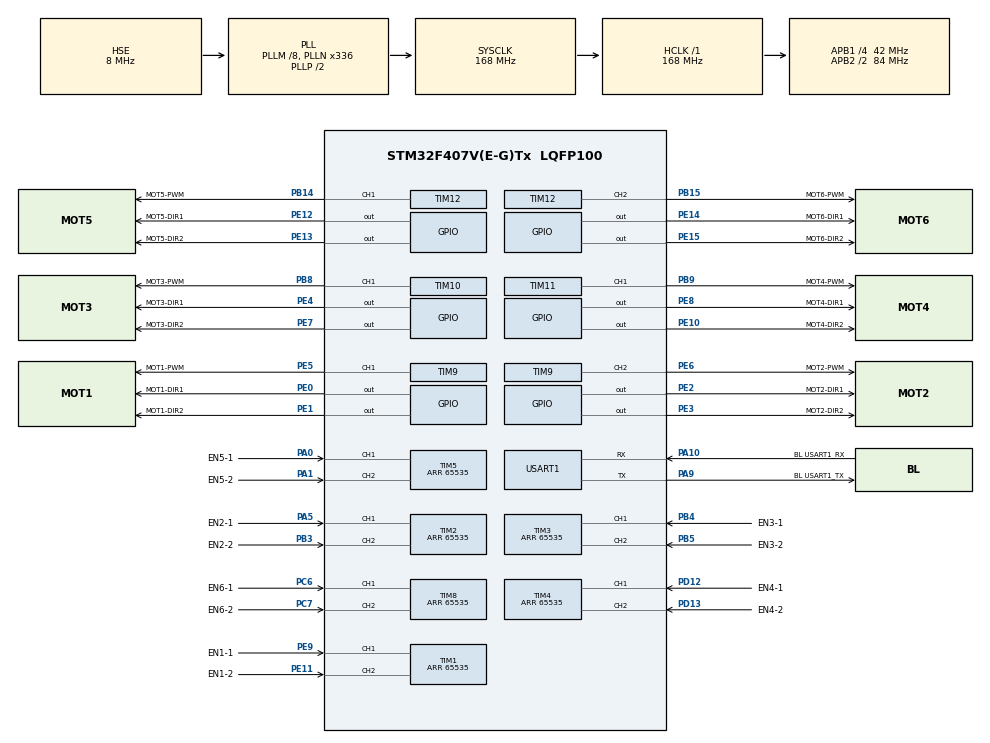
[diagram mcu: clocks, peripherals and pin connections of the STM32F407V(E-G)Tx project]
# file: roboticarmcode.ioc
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Mcu.Family=STM32F4
Mcu.Name=STM32F407V(E-G)Tx
Mcu.Package=LQFP100
NVIC.PriorityGroup=NVIC_PRIORITYGROUP_4
NVIC.TIM6_DAC_IRQn=true\:0\:0\:false
PA0-WKUP.GPIO_Label=EN5-1
PA0-WKUP.GPIO_ModeDefaultPP=GPIO_MODE_AF_PP
PA0-WKUP.GPIO_PuPd=GPIO_NOPULL
PA0-WKUP.GPIO_Speed=GPIO_SPEED_HIGH
PA0-WKUP.Signal=S_TIM5_CH1
PA1.GPIO_Label=EN5-2
PA1.GPIO_ModeDefaultPP=GPIO_MODE_AF_PP
PA1.GPIO_PuPd=GPIO_NOPULL
PA1.GPIO_Speed=GPIO_SPEED_HIGH
PA1.Signal=S_TIM5_CH2
PA10.GPIO_Label=BL USART1_RX
PA10.GPIO_Mode=GPIO_MODE_AF_PP
PA10.GPIO_PuPd=GPIO_PULLUP
PA10.GPIO_Speed=GPIO_SPEED_LOW
PA10.Mode=Asynchronous
PA10.Signal=USART1_RX
PA13.Mode=Serial-Wire
PA13.Signal=SYS_JTMS-SWDIO
PA14.Mode=Serial-Wire
PA14.Signal=SYS_JTCK-SWCLK
PA5.GPIO_Label=EN2-1
PA5.GPIO_ModeDefaultPP=GPIO_MODE_AF_PP
PA5.GPIO_PuPd=GPIO_NOPULL
PA5.GPIO_Speed=GPIO_SPEED_HIGH
PA5.Signal=S_TIM2_CH1_ETR
PA9.GPIO_Label=BL USART1_TX
PA9.GPIO_Mode=GPIO_MODE_AF_PP
PA9.GPIO_PuPd=GPIO_PULLUP
PA9.GPIO_Speed=GPIO_SPEED_LOW
PA9.Mode=Asynchronous
PA9.Signal=USART1_TX
PB14.GPIO_Label=MOT5-PWM
PB14.GPIO_ModeDefaultPP=GPIO_MODE_AF_PP
PB14.GPIO_PuPd=GPIO_NOPULL
PB14.GPIO_Speed=GPIO_SPEED_HIGH
PB14.Signal=S_TIM12_CH1
PB15.GPIO_Label=MOT6-PWM
PB15.GPIO_ModeDefaultPP=GPIO_MODE_AF_PP
PB15.GPIO_PuPd=GPIO_NOPULL
PB15.GPIO_Speed=GPIO_SPEED_HIGH
PB15.Signal=S_TIM12_CH2
PB3.GPIO_Label=EN2-2
PB3.GPIO_ModeDefaultPP=GPIO_MODE_AF_PP
PB3.GPIO_PuPd=GPIO_NOPULL
PB3.GPIO_Speed=GPIO_SPEED_HIGH
PB3.Signal=S_TIM2_CH2
PB4.GPIO_Label=EN3-1
PB4.GPIO_ModeDefaultPP=GPIO_MODE_AF_PP
PB4.GPIO_PuPd=GPIO_NOPULL
PB4.GPIO_Speed=GPIO_SPEED_HIGH
PB4.Signal=S_TIM3_CH1
PB5.GPIO_Label=EN3-2
PB5.GPIO_ModeDefaultPP=GPIO_MODE_AF_PP
PB5.GPIO_PuPd=GPIO_NOPULL
PB5.GPIO_Speed=GPIO_SPEED_HIGH
PB5.Signal=S_TIM3_CH2
PB8.GPIO_Label=MOT3-PWM
PB8.GPIO_ModeDefaultPP=GPIO_MODE_AF_PP
PB8.GPIO_PuPd=GPIO_NOPULL
PB8.GPIO_Speed=GPIO_SPEED_HIGH
PB8.Signal=S_TIM10_CH1
PB9.GPIO_Label=MOT4-PWM
PB9.GPIO_ModeDefaultPP=GPIO_MODE_AF_PP
PB9.GPIO_PuPd=GPIO_NOPULL
PB9.GPIO_Speed=GPIO_SPEED_HIGH
PB9.Signal=S_TIM11_CH1
PC6.GPIO_Label=EN6-1
PC6.GPIO_ModeDefaultPP=GPIO_MODE_AF_PP
PC6.GPIO_PuPd=GPIO_NOPULL
PC6.GPIO_Speed=GPIO_SPEED_HIGH
PC6.Signal=S_TIM8_CH1
PC7.GPIO_Label=EN6-2
PC7.GPIO_ModeDefaultPP=GPIO_MODE_AF_PP
PC7.GPIO_PuPd=GPIO_NOPULL
PC7.GPIO_Speed=GPIO_SPEED_HIGH
PC7.Signal=S_TIM8_CH2
PD12.GPIO_Label=EN4-1
PD12.GPIO_ModeDefaultPP=GPIO_MODE_AF_PP
PD12.GPIO_PuPd=GPIO_NOPULL
PD12.GPIO_Speed=GPIO_SPEED_HIGH
PD12.Signal=S_TIM4_CH1
PD13.GPIO_Label=EN4-2
PD13.GPIO_ModeDefaultPP=GPIO_MODE_AF_PP
PD13.GPIO_PuPd=GPIO_NOPULL
PD13.GPIO_Speed=GPIO_SPEED_HIGH
PD13.Signal=S_TIM4_CH2
PE0.GPIO_Label=MOT1-DIR1
PE0.GPIO_ModeDefaultOutputPP=GPIO_MODE_OUTPUT_PP
PE0.GPIO_PuPd=GPIO_NOPULL
PE0.GPIO_Speed=GPIO_SPEED_LOW
PE0.Signal=GPIO_Output
PE1.GPIO_Label=MOT1-DIR2
PE1.GPIO_ModeDefaultOutputPP=GPIO_MODE_OUTPUT_PP
PE1.GPIO_PuPd=GPIO_NOPULL
PE1.GPIO_Speed=GPIO_SPEED_LOW
PE1.Signal=GPIO_Output
PE10.GPIO_Label=MOT4-DIR2
PE10.GPIO_ModeDefaultOutputPP=GPIO_MODE_OUTPUT_PP
PE10.GPIO_PuPd=GPIO_NOPULL
PE10.GPIO_Speed=GPIO_SPEED_LOW
PE10.Signal=GPIO_Output
PE11.GPIO_Label=EN1-2
PE11.GPIO_ModeDefaultPP=GPIO_MODE_AF_PP
PE11.GPIO_PuPd=GPIO_PULLUP
PE11.GPIO_Speed=GPIO_SPEED_HIGH
PE11.Signal=S_TIM1_CH2
PE12.GPIO_Label=MOT5-DIR1
PE12.GPIO_ModeDefaultOutputPP=GPIO_MODE_OUTPUT_PP
PE12.GPIO_PuPd=GPIO_NOPULL
PE12.GPIO_Speed=GPIO_SPEED_LOW
PE12.Signal=GPIO_Output
PE13.GPIO_Label=MOT5-DIR2
PE13.GPIO_ModeDefaultOutputPP=GPIO_MODE_OUTPUT_PP
PE13.GPIO_PuPd=GPIO_NOPULL
PE13.GPIO_Speed=GPIO_SPEED_LOW
PE13.Signal=GPIO_Output
PE14.GPIO_Label=MOT6-DIR1
PE14.GPIO_ModeDefaultOutputPP=GPIO_MODE_OUTPUT_PP
PE14.GPIO_PuPd=GPIO_NOPULL
PE14.GPIO_Speed=GPIO_SPEED_LOW
PE14.Signal=GPIO_Output
PE15.GPIO_Label=MOT6-DIR2
PE15.GPIO_ModeDefaultOutputPP=GPIO_MODE_OUTPUT_PP
PE15.GPIO_PuPd=GPIO_NOPULL
PE15.GPIO_Speed=GPIO_SPEED_LOW
PE15.Signal=GPIO_Output
PE2.GPIO_Label=MOT2-DIR1
PE2.GPIO_ModeDefaultOutputPP=GPIO_MODE_OUTPUT_PP
PE2.GPIO_PuPd=GPIO_NOPULL
PE2.GPIO_Speed=GPIO_SPEED_LOW
PE2.Signal=GPIO_Output
PE3.GPIO_Label=MOT2-DIR2
PE3.GPIO_ModeDefaultOutputPP=GPIO_MODE_OUTPUT_PP
PE3.GPIO_PuPd=GPIO_NOPULL
PE3.GPIO_Speed=GPIO_SPEED_LOW
PE3.Signal=GPIO_Output
PE4.GPIO_Label=MOT3-DIR1
PE4.GPIO_ModeDefaultOutputPP=GPIO_MODE_OUTPUT_PP
PE4.GPIO_PuPd=GPIO_NOPULL
PE4.GPIO_Speed=GPIO_SPEED_LOW
PE4.Signal=GPIO_Output
PE5.GPIO_Label=MOT1-PWM
PE5.GPIO_ModeDefaultPP=GPIO_MODE_AF_PP
PE5.GPIO_PuPd=GPIO_NOPULL
PE5.GPIO_Speed=GPIO_SPEED_HIGH
PE5.Signal=S_TIM9_CH1
PE6.GPIO_Label=MOT2-PWM
PE6.GPIO_ModeDefaultPP=GPIO_MODE_AF_PP
PE6.GPIO_PuPd=GPIO_NOPULL
PE6.GPIO_Speed=GPIO_SPEED_HIGH
PE6.Signal=S_TIM9_CH2
PE7.GPIO_Label=MOT3-DIR2
PE7.GPIO_ModeDefaultOutputPP=GPIO_MODE_OUTPUT_PP
PE7.GPIO_PuPd=GPIO_NOPULL
PE7.GPIO_Speed=GPIO_SPEED_LOW
PE7.Signal=GPIO_Output
PE8.GPIO_Label=MOT4-DIR1
PE8.GPIO_ModeDefaultOutputPP=GPIO_MODE_OUTPUT_PP
PE8.GPIO_PuPd=GPIO_NOPULL
PE8.GPIO_Speed=GPIO_SPEED_LOW
PE8.Signal=GPIO_Output
PE9.GPIO_Label=EN1-1
PE9.GPIO_ModeDefaultPP=GPIO_MODE_AF_PP
PE9.GPIO_PuPd=GPIO_PULLUP
PE9.GPIO_Speed=GPIO_SPEED_HIGH
PE9.Signal=S_TIM1_CH1
PH0-OSC_IN.Mode=HSE-External-Oscillator
PH0-OSC_IN.Signal=RCC_OSC_IN
PH1-OSC_OUT.Mode=HSE-External-Oscillator
PH1-OSC_OUT.Signal=RCC_OSC_OUT
ProjectManager.TargetToolchain=MDK-ARM V5
RCC.48MHZClocksFreq_Value=48000000
RCC.AHBFreq_Value=168000000
RCC.APB1CLKDivider=RCC_HCLK_DIV4
RCC.APB1Freq_Value=42000000
RCC.APB1TimFreq_Value=84000000
RCC.APB2CLKDivider=RCC_HCLK_DIV2
RCC.APB2Freq_Value=84000000
RCC.APB2TimFreq_Value=168000000
RCC.CortexFreq_Value=21000000
RCC.HCLKFreq_Value=168000000
RCC.HSE_VALUE=8000000
RCC.HSI_VALUE=16000000
RCC.LSE_VALUE=32768
RCC.PLLM=8
RCC.PLLN=336
RCC.PLLQ=7
RCC.PLLSource=RCC_PLLSOURCE_HSE
RCC.PLLSourceVirtual=RCC_PLLSOURCE_HSE
RCC.PLLSourceVirtualString=RCC_PLLSOURCE_HSE
RCC.SYSCLKFreq_VALUE=168000000
RCC.SYSCLKSource=RCC_SYSCLKSOURCE_PLLCLK
RCC.VCOOutputFreq_Value=336000000
SH.S_TIM10_CH1.0=TIM10_CH1,PWM Generation1 CH1
SH.S_TIM11_CH1.0=TIM11_CH1,PWM Generation1 CH1
SH.S_TIM12_CH1.0=TIM12_CH1,PWM Generation1 CH1
SH.S_TIM12_CH2.0=TIM12_CH2,PWM Generation2 CH2
SH.S_TIM1_CH1.0=TIM1_CH1,Encoder_Interface
SH.S_TIM1_CH2.0=TIM1_CH2,Encoder_Interface
SH.S_TIM2_CH1_ETR.0=TIM2_CH1,Encoder_Interface
SH.S_TIM2_CH2.0=TIM2_CH2,Encoder_Interface
SH.S_TIM3_CH1.0=TIM3_CH1,Encoder_Interface
SH.S_TIM3_CH2.0=TIM3_CH2,Encoder_Interface
SH.S_TIM4_CH1.0=TIM4_CH1,Encoder_Interface
SH.S_TIM4_CH2.0=TIM4_CH2,Encoder_Interface
SH.S_TIM5_CH1.0=TIM5_CH1,Encoder_Interface
SH.S_TIM5_CH2.0=TIM5_CH2,Encoder_Interface
SH.S_TIM8_CH1.0=TIM8_CH1,Encoder_Interface
SH.S_TIM8_CH2.0=TIM8_CH2,Encoder_Interface
SH.S_TIM9_CH1.0=TIM9_CH1,PWM Generation1 CH1
SH.S_TIM9_CH2.0=TIM9_CH2,PWM Generation2 CH2
TIM1.EncoderMode=TIM_ENCODERMODE_TI12
TIM1.IC1Filter=0
TIM1.IC2Filter=0
TIM1.Period=65535
TIM10.Period=1680
TIM10.Prescaler=2
TIM11.Period=1680
TIM11.Prescaler=2
TIM12.Channel-PWM\ Generation2\ CH2=TIM_CHANNEL_2
TIM12.Period=1680
TIM2.EncoderMode=TIM_ENCODERMODE_TI12
TIM2.Period=65535
TIM3.EncoderMode=TIM_ENCODERMODE_TI12
TIM3.Period=65535
TIM4.Period=65535
TIM5.EncoderMode=TIM_ENCODERMODE_TI12
TIM5.Period=65535
TIM6.Period=48000
TIM6.Prescaler=2
TIM8.EncoderMode=TIM_ENCODERMODE_TI12
TIM8.Period=65535
TIM9.Channel-PWM\ Generation2\ CH2=TIM_CHANNEL_2
TIM9.Period=1680
TIM9.Prescaler=2
VP_TIM10_VS_ClockSourceINT.Mode=Enable_Timer
VP_TIM11_VS_ClockSourceINT.Mode=Enable_Timer
VP_TIM12_VS_ClockSourceINT.Mode=Internal
VP_TIM6_VS_ClockSourceINT.Mode=Enable_Timer
VP_TIM9_VS_ClockSourceINT.Mode=Internal

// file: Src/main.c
/**
  ******************************************************************************
  * File Name          : main.c
  * Date               : 14/02/2016 01:30:46
  * Description        : Main program body
  ******************************************************************************
  *
  * COPYRIGHT(c) 2016 STMicroelectronics
  *
  * Redistribution and use in source and binary forms, with or without modification,
  * are permitted provided that the following conditions are met:
  *   1. Redistributions of source code must retain the above copyright notice,
  *      this list of conditions and the following disclaimer.
  *   2. Redistributions in binary form must reproduce the above copyright notice,
  *      this list of conditions and the following disclaimer in the documentation
  *      and/or other materials provided with the distribution.
  *   3. Neither the name of STMicroelectronics nor the names of its contributors
  *      may be used to endorse or promote products derived from this software
  *      without specific prior written permission.
  *
  * THIS SOFTWARE IS PROVIDED BY THE COPYRIGHT HOLDERS AND CONTRIBUTORS "AS IS"
  * AND ANY EXPRESS OR IMPLIED WARRANTIES, INCLUDING, BUT NOT LIMITED TO, THE
  * IMPLIED WARRANTIES OF MERCHANTABILITY AND FITNESS FOR A PARTICULAR PURPOSE ARE
  * DISCLAIMED. IN NO EVENT SHALL THE COPYRIGHT HOLDER OR CONTRIBUTORS BE LIABLE
  * FOR ANY DIRECT, INDIRECT, INCIDENTAL, SPECIAL, EXEMPLARY, OR CONSEQUENTIAL
  * DAMAGES (INCLUDING, BUT NOT LIMITED TO, PROCUREMENT OF SUBSTITUTE GOODS OR
  * SERVICES; LOSS OF USE, DATA, OR PROFITS; OR BUSINESS INTERRUPTION) HOWEVER
  * CAUSED AND ON ANY THEORY OF LIABILITY, WHETHER IN CONTRACT, STRICT LIABILITY,
  * OR TORT (INCLUDING NEGLIGENCE OR OTHERWISE) ARISING IN ANY WAY OUT OF THE USE
  * OF THIS SOFTWARE, EVEN IF ADVISED OF THE POSSIBILITY OF SUCH DAMAGE.
  *
  ******************************************************************************
  */

#include "stm32f4xx_hal.h"

/* USER CODE BEGIN Includes */
/*
#define ARM_MATH_CM4
#define __FPU_PRESENT = 1
*/
#include "motor.h"
#include "arm_math.h"
/* USER CODE END Includes */

TIM_HandleTypeDef htim1;
TIM_HandleTypeDef htim2;
TIM_HandleTypeDef htim3;
TIM_HandleTypeDef htim4;
TIM_HandleTypeDef htim5;
TIM_HandleTypeDef htim6;
TIM_HandleTypeDef htim8;
TIM_HandleTypeDef htim9;
TIM_HandleTypeDef htim10;
TIM_HandleTypeDef htim11;
TIM_HandleTypeDef htim12;

UART_HandleTypeDef huart1;

/* USER CODE BEGIN PV */
void HAL_TIM_PeriodElapsedCallback(TIM_HandleTypeDef *htim);

extern Motor_TypeDef motors[MOTOR_COUNT];
/* USER CODE END PV */

void SystemClock_Config(void);
static void MX_GPIO_Init(void);
static void MX_TIM1_Init(void);
static void MX_TIM2_Init(void);
static void MX_TIM3_Init(void);
static void MX_TIM4_Init(void);
static void MX_TIM5_Init(void);
static void MX_TIM6_Init(void);
static void MX_TIM8_Init(void);
static void MX_TIM9_Init(void);
static void MX_TIM10_Init(void);
static void MX_TIM11_Init(void);
static void MX_TIM12_Init(void);
static void MX_USART1_UART_Init(void);

int main(void)
{

  /* MCU Configuration----------------------------------------------------------*/

  /* Reset of all peripherals, Initializes the Flash interface and the Systick. */
  HAL_Init();

  /* Configure the system clock */
  SystemClock_Config();

  /* Initialize all configured peripherals */
  MX_GPIO_Init();
  MX_TIM1_Init();
  MX_TIM2_Init();
  MX_TIM3_Init();
  MX_TIM4_Init();
  MX_TIM5_Init();
  MX_TIM6_Init();
  MX_TIM8_Init();
  MX_TIM9_Init();
  MX_TIM10_Init();
  MX_TIM11_Init();
  MX_TIM12_Init();
  MX_USART1_UART_Init();

  /* Infinite loop */
  /* USER CODE BEGIN WHILE */

	HAL_TIM_Encoder_Start(&htim1,TIM_CHANNEL_ALL);
	HAL_TIM_PWM_Start(&htim9,TIM_CHANNEL_1);
	HAL_TIM_Base_Start_IT(&htim6);

	MotorInit();
	MotorCalcPosition(&motors[0]);
		MotorCalcError(&motors[0]);
		motors[0].Enabled=true;
  while (1)
  {
		MotorSetTarget(&motors[0],1000);

		HAL_Delay(1000);
		MotorSetTarget(&motors[0],500);

		HAL_Delay(1000);

		MotorSetTarget(&motors[0],0);
		HAL_Delay(1000);
		MotorSetTarget(&motors[0],-500);
		HAL_Delay(1000);
		MotorSetTarget(&motors[0],-1000);
		HAL_Delay(1000);
  /* USER CODE END WHILE */

  }

}

/** System Clock Configuration
*/
void SystemClock_Config(void)
{

  RCC_OscInitTypeDef RCC_OscInitStruct;
  RCC_ClkInitTypeDef RCC_ClkInitStruct;

  __PWR_CLK_ENABLE();

  __HAL_PWR_VOLTAGESCALING_CONFIG(PWR_REGULATOR_VOLTAGE_SCALE1);

  RCC_OscInitStruct.OscillatorType = RCC_OSCILLATORTYPE_HSE;
  RCC_OscInitStruct.HSEState = RCC_HSE_ON;
  RCC_OscInitStruct.PLL.PLLState = RCC_PLL_ON;
  RCC_OscInitStruct.PLL.PLLSource = RCC_PLLSOURCE_HSE;
  RCC_OscInitStruct.PLL.PLLM = 8;
  RCC_OscInitStruct.PLL.PLLN = 336;
  RCC_OscInitStruct.PLL.PLLP = RCC_PLLP_DIV2;
  RCC_OscInitStruct.PLL.PLLQ = 7;
  HAL_RCC_OscConfig(&RCC_OscInitStruct);

  RCC_ClkInitStruct.ClockType = RCC_CLOCKTYPE_SYSCLK|RCC_CLOCKTYPE_PCLK1
                              |RCC_CLOCKTYPE_PCLK2;
  RCC_ClkInitStruct.SYSCLKSource = RCC_SYSCLKSOURCE_PLLCLK;
  RCC_ClkInitStruct.AHBCLKDivider = RCC_SYSCLK_DIV1;
  RCC_ClkInitStruct.APB1CLKDivider = RCC_HCLK_DIV4;
  RCC_ClkInitStruct.APB2CLKDivider = RCC_HCLK_DIV2;
  HAL_RCC_ClockConfig(&RCC_ClkInitStruct, FLASH_LATENCY_5);

}

/* TIM1 init function */
void MX_TIM1_Init(void)
{

  TIM_Encoder_InitTypeDef sConfig;
  TIM_MasterConfigTypeDef sMasterConfig;

  htim1.Instance = TIM1;
  htim1.Init.Prescaler = 0;
  htim1.Init.CounterMode = TIM_COUNTERMODE_UP;
  htim1.Init.Period = 65535;
  htim1.Init.ClockDivision = TIM_CLOCKDIVISION_DIV1;
  htim1.Init.RepetitionCounter = 0;
  sConfig.EncoderMode = TIM_ENCODERMODE_TI12;
  sConfig.IC1Polarity = TIM_ICPOLARITY_RISING;
  sConfig.IC1Selection = TIM_ICSELECTION_DIRECTTI;
  sConfig.IC1Prescaler = TIM_ICPSC_DIV1;
  sConfig.IC1Filter = 0;
  sConfig.IC2Polarity = TIM_ICPOLARITY_RISING;
  sConfig.IC2Selection = TIM_ICSELECTION_DIRECTTI;
  sConfig.IC2Prescaler = TIM_ICPSC_DIV1;
  sConfig.IC2Filter = 0;
  HAL_TIM_Encoder_Init(&htim1, &sConfig);

  sMasterConfig.MasterOutputTrigger = TIM_TRGO_RESET;
  sMasterConfig.MasterSlaveMode = TIM_MASTERSLAVEMODE_DISABLE;
  HAL_TIMEx_MasterConfigSynchronization(&htim1, &sMasterConfig);

}

/* TIM2 init function */
void MX_TIM2_Init(void)
{

  TIM_Encoder_InitTypeDef sConfig;
  TIM_MasterConfigTypeDef sMasterConfig;

  htim2.Instance = TIM2;
  htim2.Init.Prescaler = 0;
  htim2.Init.CounterMode = TIM_COUNTERMODE_UP;
  htim2.Init.Period = 65535;
  htim2.Init.ClockDivision = TIM_CLOCKDIVISION_DIV1;
  sConfig.EncoderMode = TIM_ENCODERMODE_TI12;
  sConfig.IC1Polarity = TIM_ICPOLARITY_RISING;
  sConfig.IC1Selection = TIM_ICSELECTION_DIRECTTI;
  sConfig.IC1Prescaler = TIM_ICPSC_DIV1;
  sConfig.IC1Filter = 0;
  sConfig.IC2Polarity = TIM_ICPOLARITY_RISING;
  sConfig.IC2Selection = TIM_ICSELECTION_DIRECTTI;
  sConfig.IC2Prescaler = TIM_ICPSC_DIV1;
  sConfig.IC2Filter = 0;
  HAL_TIM_Encoder_Init(&htim2, &sConfig);

  sMasterConfig.MasterOutputTrigger = TIM_TRGO_RESET;
  sMasterConfig.MasterSlaveMode = TIM_MASTERSLAVEMODE_DISABLE;
  HAL_TIMEx_MasterConfigSynchronization(&htim2, &sMasterConfig);

}

/* TIM3 init function */
void MX_TIM3_Init(void)
{

  TIM_Encoder_InitTypeDef sConfig;
  TIM_MasterConfigTypeDef sMasterConfig;

  htim3.Instance = TIM3;
  htim3.Init.Prescaler = 0;
  htim3.Init.CounterMode = TIM_COUNTERMODE_UP;
  htim3.Init.Period = 65535;
  htim3.Init.ClockDivision = TIM_CLOCKDIVISION_DIV1;
  sConfig.EncoderMode = TIM_ENCODERMODE_TI12;
  sConfig.IC1Polarity = TIM_ICPOLARITY_RISING;
  sConfig.IC1Selection = TIM_ICSELECTION_DIRECTTI;
  sConfig.IC1Prescaler = TIM_ICPSC_DIV1;
  sConfig.IC1Filter = 0;
  sConfig.IC2Polarity = TIM_ICPOLARITY_RISING;
  sConfig.IC2Selection = TIM_ICSELECTION_DIRECTTI;
  sConfig.IC2Prescaler = TIM_ICPSC_DIV1;
  sConfig.IC2Filter = 0;
  HAL_TIM_Encoder_Init(&htim3, &sConfig);

  sMasterConfig.MasterOutputTrigger = TIM_TRGO_RESET;
  sMasterConfig.MasterSlaveMode = TIM_MASTERSLAVEMODE_DISABLE;
  HAL_TIMEx_MasterConfigSynchronization(&htim3, &sMasterConfig);

}

/* TIM4 init function */
void MX_TIM4_Init(void)
{

  TIM_Encoder_InitTypeDef sConfig;
  TIM_MasterConfigTypeDef sMasterConfig;

  htim4.Instance = TIM4;
  htim4.Init.Prescaler = 0;
  htim4.Init.CounterMode = TIM_COUNTERMODE_UP;
  htim4.Init.Period = 65535;
  htim4.Init.ClockDivision = TIM_CLOCKDIVISION_DIV1;
  sConfig.EncoderMode = TIM_ENCODERMODE_TI1;
  sConfig.IC1Polarity = TIM_ICPOLARITY_RISING;
  sConfig.IC1Selection = TIM_ICSELECTION_DIRECTTI;
  sConfig.IC1Prescaler = TIM_ICPSC_DIV1;
  sConfig.IC1Filter = 0;
  sConfig.IC2Polarity = TIM_ICPOLARITY_RISING;
  sConfig.IC2Selection = TIM_ICSELECTION_DIRECTTI;
  sConfig.IC2Prescaler = TIM_ICPSC_DIV1;
  sConfig.IC2Filter = 0;
  HAL_TIM_Encoder_Init(&htim4, &sConfig);

  sMasterConfig.MasterOutputTrigger = TIM_TRGO_RESET;
  sMasterConfig.MasterSlaveMode = TIM_MASTERSLAVEMODE_DISABLE;
  HAL_TIMEx_MasterConfigSynchronization(&htim4, &sMasterConfig);

}

/* TIM5 init function */
void MX_TIM5_Init(void)
{

  TIM_Encoder_InitTypeDef sConfig;
  TIM_MasterConfigTypeDef sMasterConfig;

  htim5.Instance = TIM5;
  htim5.Init.Prescaler = 0;
  htim5.Init.CounterMode = TIM_COUNTERMODE_UP;
  htim5.Init.Period = 65535;
  htim5.Init.ClockDivision = TIM_CLOCKDIVISION_DIV1;
  sConfig.EncoderMode = TIM_ENCODERMODE_TI12;
  sConfig.IC1Polarity = TIM_ICPOLARITY_RISING;
  sConfig.IC1Selection = TIM_ICSELECTION_DIRECTTI;
  sConfig.IC1Prescaler = TIM_ICPSC_DIV1;
  sConfig.IC1Filter = 0;
  sConfig.IC2Polarity = TIM_ICPOLARITY_RISING;
  sConfig.IC2Selection = TIM_ICSELECTION_DIRECTTI;
  sConfig.IC2Prescaler = TIM_ICPSC_DIV1;
  sConfig.IC2Filter = 0;
  HAL_TIM_Encoder_Init(&htim5, &sConfig);

  sMasterConfig.MasterOutputTrigger = TIM_TRGO_RESET;
  sMasterConfig.MasterSlaveMode = TIM_MASTERSLAVEMODE_DISABLE;
  HAL_TIMEx_MasterConfigSynchronization(&htim5, &sMasterConfig);

}

/* TIM6 init function */
void MX_TIM6_Init(void)
{

  TIM_MasterConfigTypeDef sMasterConfig;

  htim6.Instance = TIM6;
  htim6.Init.Prescaler = 2;
  htim6.Init.CounterMode = TIM_COUNTERMODE_UP;
  htim6.Init.Period = 48000;
  HAL_TIM_Base_Init(&htim6);

  sMasterConfig.MasterOutputTrigger = TIM_TRGO_RESET;
  sMasterConfig.MasterSlaveMode = TIM_MASTERSLAVEMODE_DISABLE;
  HAL_TIMEx_MasterConfigSynchronization(&htim6, &sMasterConfig);

}

/* TIM8 init function */
void MX_TIM8_Init(void)
{

  TIM_Encoder_InitTypeDef sConfig;
  TIM_MasterConfigTypeDef sMasterConfig;

  htim8.Instance = TIM8;
  htim8.Init.Prescaler = 0;
  htim8.Init.CounterMode = TIM_COUNTERMODE_UP;
  htim8.Init.Period = 65535;
  htim8.Init.ClockDivision = TIM_CLOCKDIVISION_DIV1;
  htim8.Init.RepetitionCounter = 0;
  sConfig.EncoderMode = TIM_ENCODERMODE_TI12;
  sConfig.IC1Polarity = TIM_ICPOLARITY_RISING;
  sConfig.IC1Selection = TIM_ICSELECTION_DIRECTTI;
  sConfig.IC1Prescaler = TIM_ICPSC_DIV1;
  sConfig.IC1Filter = 0;
  sConfig.IC2Polarity = TIM_ICPOLARITY_RISING;
  sConfig.IC2Selection = TIM_ICSELECTION_DIRECTTI;
  sConfig.IC2Prescaler = TIM_ICPSC_DIV1;
  sConfig.IC2Filter = 0;
  HAL_TIM_Encoder_Init(&htim8, &sConfig);

  sMasterConfig.MasterOutputTrigger = TIM_TRGO_RESET;
  sMasterConfig.MasterSlaveMode = TIM_MASTERSLAVEMODE_DISABLE;
  HAL_TIMEx_MasterConfigSynchronization(&htim8, &sMasterConfig);

}

/* TIM9 init function */
void MX_TIM9_Init(void)
{

  TIM_ClockConfigTypeDef sClockSourceConfig;
  TIM_OC_InitTypeDef sConfigOC;

  htim9.Instance = TIM9;
  htim9.Init.Prescaler = 2;
  htim9.Init.CounterMode = TIM_COUNTERMODE_UP;
  htim9.Init.Period = 1680;
  htim9.Init.ClockDivision = TIM_CLOCKDIVISION_DIV1;
  HAL_TIM_Base_Init(&htim9);

  sClockSourceConfig.ClockSource = TIM_CLOCKSOURCE_INTERNAL;
  HAL_TIM_ConfigClockSource(&htim9, &sClockSourceConfig);

  HAL_TIM_PWM_Init(&htim9);

  sConfigOC.OCMode = TIM_OCMODE_PWM1;
  sConfigOC.Pulse = 0;
  sConfigOC.OCPolarity = TIM_OCPOLARITY_HIGH;
  sConfigOC.OCFastMode = TIM_OCFAST_DISABLE;
  HAL_TIM_PWM_ConfigChannel(&htim9, &sConfigOC, TIM_CHANNEL_1);

  HAL_TIM_PWM_ConfigChannel(&htim9, &sConfigOC, TIM_CHANNEL_2);

}

/* TIM10 init function */
void MX_TIM10_Init(void)
{

  TIM_OC_InitTypeDef sConfigOC;

  htim10.Instance = TIM10;
  htim10.Init.Prescaler = 2;
  htim10.Init.CounterMode = TIM_COUNTERMODE_UP;
  htim10.Init.Period = 1680;
  htim10.Init.ClockDivision = TIM_CLOCKDIVISION_DIV1;
  HAL_TIM_Base_Init(&htim10);

  HAL_TIM_PWM_Init(&htim10);

  sConfigOC.OCMode = TIM_OCMODE_PWM1;
  sConfigOC.Pulse = 0;
  sConfigOC.OCPolarity = TIM_OCPOLARITY_HIGH;
  sConfigOC.OCFastMode = TIM_OCFAST_DISABLE;
  HAL_TIM_PWM_ConfigChannel(&htim10, &sConfigOC, TIM_CHANNEL_1);

}

/* TIM11 init function */
void MX_TIM11_Init(void)
{

  TIM_OC_InitTypeDef sConfigOC;

  htim11.Instance = TIM11;
  htim11.Init.Prescaler = 2;
  htim11.Init.CounterMode = TIM_COUNTERMODE_UP;
  htim11.Init.Period = 1680;
  htim11.Init.ClockDivision = TIM_CLOCKDIVISION_DIV1;
  HAL_TIM_Base_Init(&htim11);

  HAL_TIM_PWM_Init(&htim11);

  sConfigOC.OCMode = TIM_OCMODE_PWM1;
  sConfigOC.Pulse = 0;
  sConfigOC.OCPolarity = TIM_OCPOLARITY_HIGH;
  sConfigOC.OCFastMode = TIM_OCFAST_DISABLE;
  HAL_TIM_PWM_ConfigChannel(&htim11, &sConfigOC, TIM_CHANNEL_1);

}

/* TIM12 init function */
void MX_TIM12_Init(void)
{

  TIM_ClockConfigTypeDef sClockSourceConfig;
  TIM_OC_InitTypeDef sConfigOC;

  htim12.Instance = TIM12;
  htim12.Init.Prescaler = 0;
  htim12.Init.CounterMode = TIM_COUNTERMODE_UP;
  htim12.Init.Period = 1680;
  htim12.Init.ClockDivision = TIM_CLOCKDIVISION_DIV1;
  HAL_TIM_Base_Init(&htim12);

  sClockSourceConfig.ClockSource = TIM_CLOCKSOURCE_INTERNAL;
  HAL_TIM_ConfigClockSource(&htim12, &sClockSourceConfig);

  HAL_TIM_PWM_Init(&htim12);

  sConfigOC.OCMode = TIM_OCMODE_PWM1;
  sConfigOC.Pulse = 0;
  sConfigOC.OCPolarity = TIM_OCPOLARITY_HIGH;
  sConfigOC.OCFastMode = TIM_OCFAST_DISABLE;
  HAL_TIM_PWM_ConfigChannel(&htim12, &sConfigOC, TIM_CHANNEL_1);

  HAL_TIM_PWM_ConfigChannel(&htim12, &sConfigOC, TIM_CHANNEL_2);

}

/* USART1 init function */
void MX_USART1_UART_Init(void)
{

  huart1.Instance = USART1;
  huart1.Init.BaudRate = 115200;
  huart1.Init.WordLength = UART_WORDLENGTH_8B;
  huart1.Init.StopBits = UART_STOPBITS_1;
  huart1.Init.Parity = UART_PARITY_NONE;
  huart1.Init.Mode = UART_MODE_TX_RX;
  huart1.Init.HwFlowCtl = UART_HWCONTROL_NONE;
  huart1.Init.OverSampling = UART_OVERSAMPLING_16;
  HAL_UART_Init(&huart1);

}

/** Configure pins as
        * Analog
        * Input
        * Output
        * EVENT_OUT
        * EXTI
*/
void MX_GPIO_Init(void)
{

  GPIO_InitTypeDef GPIO_InitStruct;

  /* GPIO Ports Clock Enable */
  __GPIOE_CLK_ENABLE();
  __GPIOH_CLK_ENABLE();
  __GPIOA_CLK_ENABLE();
  __GPIOB_CLK_ENABLE();
  __GPIOD_CLK_ENABLE();
  __GPIOC_CLK_ENABLE();

  /*Configure GPIO pins : PE2 PE3 PE4 PE7
                           PE8 PE10 PE12 PE13
                           PE14 PE15 PE0 PE1 */
  GPIO_InitStruct.Pin = GPIO_PIN_2|GPIO_PIN_3|GPIO_PIN_4|GPIO_PIN_7
                          |GPIO_PIN_8|GPIO_PIN_10|GPIO_PIN_12|GPIO_PIN_13
                          |GPIO_PIN_14|GPIO_PIN_15|GPIO_PIN_0|GPIO_PIN_1;
  GPIO_InitStruct.Mode = GPIO_MODE_OUTPUT_PP;
  GPIO_InitStruct.Pull = GPIO_NOPULL;
  GPIO_InitStruct.Speed = GPIO_SPEED_LOW;
  HAL_GPIO_Init(GPIOE, &GPIO_InitStruct);

}

/* USER CODE BEGIN 4 */

void HAL_TIM_PeriodElapsedCallback(TIM_HandleTypeDef *htim)
{
	float32_t duty;
	if (htim->Instance==TIM6)
	{
		MotorCalcPosition(&motors[0]);
		MotorCalcError(&motors[0]);
		duty = MotorCalcPID(&motors[0]);
		MotorDrive(&motors[0],(int32_t)duty);

	}
}

/* USER CODE END 4 */

/************************ (C) COPYRIGHT STMicroelectronics *****END OF FILE****/
